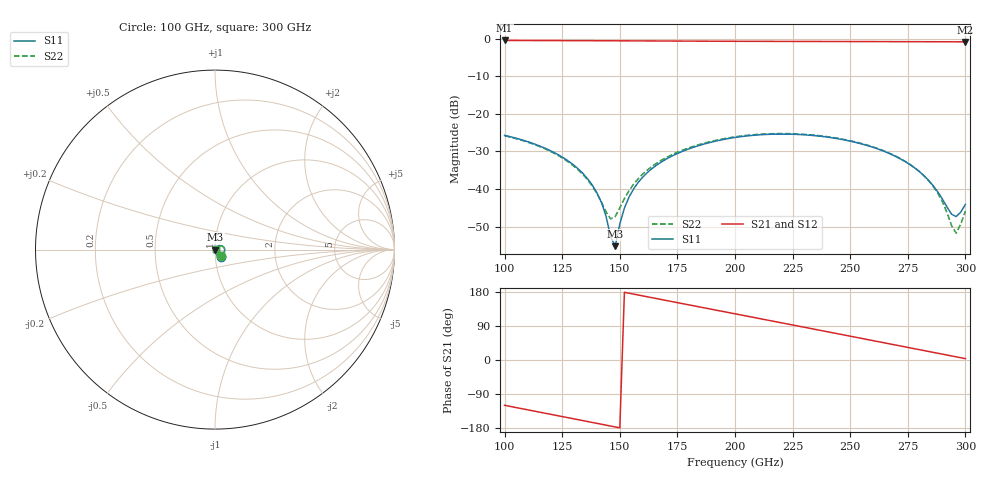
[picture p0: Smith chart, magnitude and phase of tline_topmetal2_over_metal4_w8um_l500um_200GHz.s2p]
#  GHZ S DB R 50
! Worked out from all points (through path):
!   101 points, 100 GHz to 300 GHz, reference 50 ohm
!   highest |S21| = -0.42 dB at 100 GHz (marker M1); lowest = -0.8 dB at 300 GHz (marker M2)
!   group delay of S21, straight-line fit = 3.29 ps
!   lowest |S11| = -55.2 dB at 148 GHz (marker M3), VSWR 1.00, Z = 50.2 + j0.0304 ohm
!   |S11| at or under -10 dB: start of sweep to end of sweep
!   |S22| runs from -51.8 to -25.2 dB; largest |S21 - S12| = 1.1e-14
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100  -25.71 -48.9  -0.42 -119.6  -0.42 -119.6  -25.81 -47.5
120  -29.82 -69.6  -0.46 -143.3  -0.46 -143.3  -30.00 -66.4
134  -35.86 -82.0  -0.48 -160.0  -0.48 -160.0  -36.15 -74.1
142  -43.55 -82.5  -0.50 -169.5  -0.50 -169.5  -43.42 -61.6
144  -47.19 -77.1  -0.50 -171.9  -0.50 -171.9  -46.01 -47.6
146  -52.68 -57.3  -0.51 -174.2  -0.51 -174.2  -47.94 -21.8
148  -55.22 10.1  -0.51 -176.6  -0.51 -176.6  -47.36 9.0
150  -49.33 47.2  -0.52 -179.0  -0.52 -179.0  -44.99 29.5
154  -42.14 58.9  -0.53 176.2  -0.53 176.2  -40.44 45.2
160  -36.80 58.0  -0.54 169.1  -0.54 169.1  -35.99 48.9
168  -32.80 51.9  -0.56 159.6  -0.56 159.6  -32.35 45.5
182  -28.87 38.7  -0.60 143.1  -0.60 143.1  -28.62 34.2
200  -26.27 19.5  -0.65 121.9  -0.65 121.9  -26.10 16.0
218  -25.37 -0.8  -0.67 100.7  -0.67 100.7  -25.24 -4.1
234  -25.75 -18.9  -0.69 81.8  -0.69 81.8  -25.62 -22.1
250  -27.25 -36.3  -0.71 62.9  -0.71 62.9  -27.13 -39.9
268  -30.82 -53.9  -0.74 41.5  -0.74 41.5  -30.72 -58.7
284  -37.67 -61.5  -0.76 22.6  -0.76 22.6  -37.74 -70.6
290  -42.65 -51.9  -0.77 15.4  -0.77 15.4  -43.35 -66.6
294  -46.70 -24.3  -0.78 10.7  -0.78 10.7  -49.72 -41.3
296  -47.34 0.6  -0.78 8.3  -0.78 8.3  -51.77 -2.7
300  -44.09 38.1  -0.79 3.6  -0.79 3.6  -45.90 49.2
